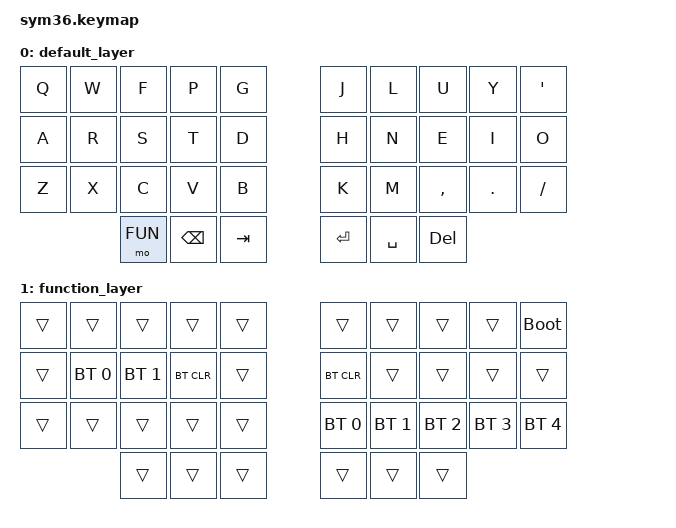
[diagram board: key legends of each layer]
/*
 *
 */


#include <behaviors.dtsi>
#include <dt-bindings/zmk/keys.h>
#include <dt-bindings/zmk/bt.h>

#define DEF     0
#define FUN     1


/ {
    keymap {
        compatible = "zmk,keymap";

        default_layer {
            bindings = <
&kp Q   &kp W   &kp F   &kp P   &kp G                   &kp J   &kp L   &kp U   &kp Y   &kp SQT
&kp A   &kp R   &kp S   &kp T   &kp D                   &kp H   &kp N   &kp E   &kp I   &kp O
&kp Z   &kp X   &kp C   &kp V   &kp B                   &kp K   &kp M   &kp COMMA &kp DOT &kp FSLH
             &mo FUN  &kp BSPC  &kp TAB                 &kp ENTER  &kp SPACE  &kp DEL
            >;
        };

        function_layer {
            bindings = <
&trans  &trans  &trans  &trans  &trans                  &trans  &trans  &trans  &trans  &bootloader
&trans  &bt BT_SEL 0 &bt BT_SEL 1 &bt BT_CLR &trans     &bt BT_CLR  &trans  &trans  &trans  &trans
&trans  &trans  &trans  &trans  &trans                  &bt BT_SEL 0 &bt BT_SEL 1 &bt BT_SEL 2 &bt BT_SEL 3 &bt BT_SEL 4
                &trans  &trans  &trans                  &trans  &trans  &trans
            >;
        };
    };
};
